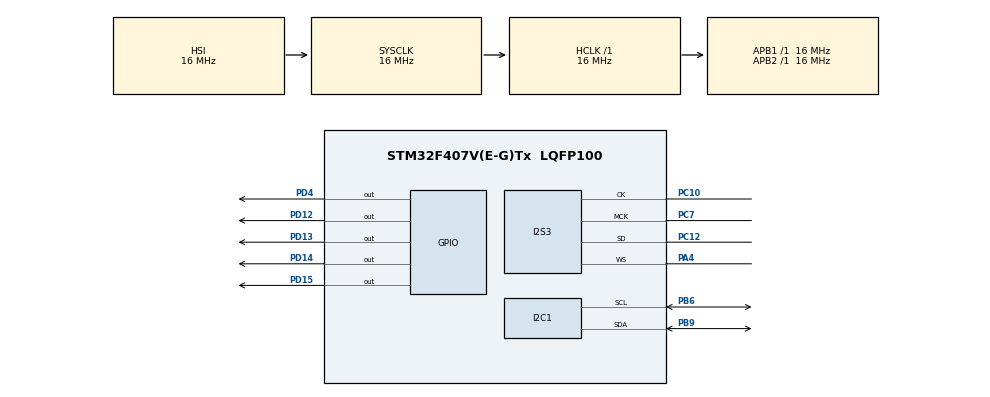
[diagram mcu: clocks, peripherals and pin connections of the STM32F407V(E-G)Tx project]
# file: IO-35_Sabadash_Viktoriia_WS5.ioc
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Dma.Request0=SPI3_TX
Dma.SPI3_TX.0.Direction=DMA_MEMORY_TO_PERIPH
Dma.SPI3_TX.0.FIFOMode=DMA_FIFOMODE_ENABLE
Dma.SPI3_TX.0.FIFOThreshold=DMA_FIFO_THRESHOLD_FULL
Dma.SPI3_TX.0.Instance=DMA1_Stream5
Dma.SPI3_TX.0.MemBurst=DMA_MBURST_SINGLE
Dma.SPI3_TX.0.MemDataAlignment=DMA_MDATAALIGN_HALFWORD
Dma.SPI3_TX.0.MemInc=DMA_MINC_ENABLE
Dma.SPI3_TX.0.Mode=DMA_CIRCULAR
Dma.SPI3_TX.0.PeriphBurst=DMA_PBURST_SINGLE
Dma.SPI3_TX.0.PeriphDataAlignment=DMA_PDATAALIGN_HALFWORD
Dma.SPI3_TX.0.PeriphInc=DMA_PINC_DISABLE
Dma.SPI3_TX.0.Priority=DMA_PRIORITY_LOW
I2S3.AudioFreq=I2S_AUDIOFREQ_48K
I2S3.ErrorAudioFreq=-2.34 %
I2S3.FullDuplexMode=I2S_FULLDUPLEXMODE_DISABLE
I2S3.Instance=SPI$Index
I2S3.RealAudioFreq=46.875 KHz
I2S3.VirtualMode=I2S_MODE_MASTER
Mcu.Family=STM32F4
Mcu.Name=STM32F407V(E-G)Tx
Mcu.Package=LQFP100
NVIC.DMA1_Stream5_IRQn=true\:0\:0\:false\:false\:true\:false\:true\:true
NVIC.PriorityGroup=NVIC_PRIORITYGROUP_4
PA4.Mode=Half_Duplex_Master
PA4.Signal=I2S3_WS
PB6.Mode=I2C
PB6.Signal=I2C1_SCL
PB9.Mode=I2C
PB9.Signal=I2C1_SDA
PC10.Mode=Half_Duplex_Master
PC10.Signal=I2S3_CK
PC12.Mode=Half_Duplex_Master
PC12.Signal=I2S3_SD
PC7.Mode=Master_Clock_Activated
PC7.Signal=I2S3_MCK
PD12.Signal=GPIO_Output
PD13.Signal=GPIO_Output
PD14.Signal=GPIO_Output
PD15.Signal=GPIO_Output
PD4.Signal=GPIO_Output
ProjectManager.HeapSize=0x200
ProjectManager.StackSize=0x400
ProjectManager.TargetToolchain=STM32CubeIDE
RCC.AHBFreq_Value=16000000
RCC.APB1Freq_Value=16000000
RCC.APB2Freq_Value=16000000
RCC.CortexFreq_Value=16000000
RCC.HSE_VALUE=25000000
RCC.HSI_VALUE=16000000
RCC.LSE_VALUE=32768
RCC.SYSCLKFreq_VALUE=16000000
RCC.VCOOutputFreq_Value=192000000
board=custom

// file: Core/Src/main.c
/* USER CODE BEGIN Header */
/**
  ******************************************************************************
  * @file           : main.c
  * @brief          : Main program body
  ******************************************************************************
  * @attention
  *
  * Copyright (c) 2026 STMicroelectronics.
  * All rights reserved.
  *
  * This software is licensed under terms that can be found in the LICENSE file
  * in the root directory of this software component.
  * If no LICENSE file comes with this software, it is provided AS-IS.
  *
  ******************************************************************************
  */
/* USER CODE END Header */
#include "main.h"

/* USER CODE BEGIN PTD */

typedef enum
{
	C4,
	C5,
	D5,
	E5,
	F5,
	G5,
	A5,
	B5,
	C6,
	D6,
	E6,
	F6,
	G6,
	A6,
	B6,
	C7,
	MAX_VALUE
} soundToneType;

/* USER CODE END PTD */

/* USER CODE BEGIN PD */

#define CS43L22_I2C_ADDRESS		0x94
#define I2C_TIMEOUT				10

/* USER CODE END PD */

I2C_HandleTypeDef hi2c1;

I2S_HandleTypeDef hi2s3;
DMA_HandleTypeDef hdma_spi3_tx;

/* USER CODE BEGIN PV */

int16_t dataI2S[100] = {0};

/* USER CODE END PV */

void SystemClock_Config(void);
static void MX_GPIO_Init(void);
static void MX_DMA_Init(void);
static void MX_I2C1_Init(void);
static void MX_I2S3_Init(void);

/* USER CODE BEGIN 0 */

void CS43L22_Init(void)
{
	// Enable chip
	HAL_GPIO_WritePin(GPIOD, GPIO_PIN_4, GPIO_PIN_SET);

	//
	// Initialization
	//
	uint8_t TxBuffer[2];

	TxBuffer[0] = 0x0D;
	TxBuffer[1] = 0x01;
	HAL_I2C_Master_Transmit(&hi2c1, CS43L22_I2C_ADDRESS, (uint8_t*) &TxBuffer, 2, I2C_TIMEOUT);

	TxBuffer[0] = 0x00;
	TxBuffer[1] = 0x99;
	HAL_I2C_Master_Transmit(&hi2c1, CS43L22_I2C_ADDRESS, (uint8_t*) &TxBuffer, 2, I2C_TIMEOUT);

	TxBuffer[0] = 0x47;
	TxBuffer[1] = 0x80;
	HAL_I2C_Master_Transmit(&hi2c1, CS43L22_I2C_ADDRESS, (uint8_t*) &TxBuffer, 2, I2C_TIMEOUT);

	TxBuffer[0] = 0x32;
	TxBuffer[1] = 0xFF;
	HAL_I2C_Master_Transmit(&hi2c1, CS43L22_I2C_ADDRESS, (uint8_t*) &TxBuffer, 2, I2C_TIMEOUT);

	TxBuffer[0] = 0x32;
	TxBuffer[1] = 0x7F;
	HAL_I2C_Master_Transmit(&hi2c1, CS43L22_I2C_ADDRESS, (uint8_t*) &TxBuffer, 2, I2C_TIMEOUT);

	TxBuffer[0] = 0x00;
	TxBuffer[1] = 0x00;
	HAL_I2C_Master_Transmit(&hi2c1, CS43L22_I2C_ADDRESS, (uint8_t*) &TxBuffer, 2, I2C_TIMEOUT);

	TxBuffer[0] = 0x04;
	TxBuffer[1] = 0xAF;
	HAL_I2C_Master_Transmit(&hi2c1, CS43L22_I2C_ADDRESS, (uint8_t*) &TxBuffer, 2, I2C_TIMEOUT);

	TxBuffer[0] = 0x0D;
	TxBuffer[1] = 0x70;
	HAL_I2C_Master_Transmit(&hi2c1, CS43L22_I2C_ADDRESS, (uint8_t*) &TxBuffer, 2, I2C_TIMEOUT);

	TxBuffer[0] = 0x05;
	TxBuffer[1] = 0x81;
	HAL_I2C_Master_Transmit(&hi2c1, CS43L22_I2C_ADDRESS, (uint8_t*) &TxBuffer, 2, I2C_TIMEOUT);

	TxBuffer[0] = 0x06;
	TxBuffer[1] = 0x07;
	HAL_I2C_Master_Transmit(&hi2c1, CS43L22_I2C_ADDRESS, (uint8_t*) &TxBuffer, 2, I2C_TIMEOUT);

	TxBuffer[0] = 0x0A;
	TxBuffer[1] = 0x00;
	HAL_I2C_Master_Transmit(&hi2c1, CS43L22_I2C_ADDRESS, (uint8_t*) &TxBuffer, 2, I2C_TIMEOUT);

	TxBuffer[0] = 0x27;
	TxBuffer[1] = 0x00;
	HAL_I2C_Master_Transmit(&hi2c1, CS43L22_I2C_ADDRESS, (uint8_t*) &TxBuffer, 2, I2C_TIMEOUT);

	TxBuffer[0] = 0x1A;
	TxBuffer[1] = 0x0A;
	HAL_I2C_Master_Transmit(&hi2c1, CS43L22_I2C_ADDRESS, (uint8_t*) &TxBuffer, 2, I2C_TIMEOUT);

	TxBuffer[0] = 0x1B;
	TxBuffer[1] = 0x0A;
	HAL_I2C_Master_Transmit(&hi2c1, CS43L22_I2C_ADDRESS, (uint8_t*) &TxBuffer, 2, I2C_TIMEOUT);

	TxBuffer[0] = 0x1F;
	TxBuffer[1] = 0x0F;
	HAL_I2C_Master_Transmit(&hi2c1, CS43L22_I2C_ADDRESS, (uint8_t*) &TxBuffer, 2, I2C_TIMEOUT);

	TxBuffer[0] = 0x02;
	TxBuffer[1] = 0x9E;
	HAL_I2C_Master_Transmit(&hi2c1, CS43L22_I2C_ADDRESS, (uint8_t*) &TxBuffer, 2, I2C_TIMEOUT);
}

void CS43L22_Beep(soundToneType pitch, uint32_t duration_ms)
{
	uint8_t TxBuffer[2];

	// Set volume and off time
	TxBuffer[0] = 0x1D;		// Register address
	TxBuffer[1] = 0x00;		// Value (volume and off time)
	HAL_I2C_Master_Transmit(&hi2c1, CS43L22_I2C_ADDRESS, (uint8_t*) &TxBuffer, 2, I2C_TIMEOUT);

	// Set sound frequency
	TxBuffer[0] = 0x1C;		// Register address
	switch (pitch)
	{
		case C4:
			TxBuffer[1] = 0x00;		// Value (frequency and on time)
			break;
		case C5:
			TxBuffer[1] = 0x10;
			break;
		case D5:
			TxBuffer[1] = 0x20;
			break;
		case E5:
			TxBuffer[1] = 0x30;
			break;
		case F5:
			TxBuffer[1] = 0x40;
			break;
		case G5:
			TxBuffer[1] = 0x50;
			break;
		case A5:
			TxBuffer[1] = 0x60;
			break;
		case B5:
			TxBuffer[1] = 0x70;
			break;
		case C6:
			TxBuffer[1] = 0x80;
			break;
		case D6:
			TxBuffer[1] = 0x90;
			break;
		case E6:
			TxBuffer[1] = 0xA0;
			break;
		case F6:
			TxBuffer[1] = 0xB0;
			break;
		case G6:
			TxBuffer[1] = 0xC0;
			break;
		case A6:
			TxBuffer[1] = 0xD0;
			break;
		case B6:
			TxBuffer[1] = 0xE0;
			break;
		case C7:
			TxBuffer[1] = 0xF0;
			break;
		case MAX_VALUE:
		default:
			TxBuffer[1] = 0x00;		// Value (frequency and on time)
			break;
	}
	HAL_I2C_Master_Transmit(&hi2c1, CS43L22_I2C_ADDRESS, (uint8_t*) &TxBuffer, 2, I2C_TIMEOUT);

	// Enable continuous mode (SOUND STARTED)
	TxBuffer[0] = 0x1E;		// Register address
	TxBuffer[1] = 0xC0;		// Value (beep and tone configuration)
	HAL_I2C_Master_Transmit(&hi2c1, CS43L22_I2C_ADDRESS, (uint8_t*) &TxBuffer, 2, I2C_TIMEOUT);

	HAL_GPIO_WritePin(GPIOD, GPIO_PIN_12 | GPIO_PIN_13 | GPIO_PIN_14 | GPIO_PIN_15, GPIO_PIN_RESET);
	uint16_t led_pin = 0;
	if (pitch == C4 || pitch == C5 || pitch == C6 || pitch == C7) led_pin = GPIO_PIN_12;
	    else if (pitch == D5 || pitch == D6) led_pin = GPIO_PIN_13;
	    else if (pitch == E5 || pitch == E6) led_pin = GPIO_PIN_14;
	    else if (pitch == F5 || pitch == F6) led_pin = GPIO_PIN_15;
	    else if (pitch == G5 || pitch == G6) led_pin = GPIO_PIN_12 | GPIO_PIN_13;
	    else if (pitch == A5 || pitch == A6) led_pin = GPIO_PIN_14 | GPIO_PIN_15;
	    else if (pitch == B5 || pitch == B6) led_pin = GPIO_PIN_12 | GPIO_PIN_15;

	    if (led_pin != 0) HAL_GPIO_WritePin(GPIOD, led_pin, GPIO_PIN_SET);
	// Playing...
	HAL_Delay(duration_ms);

	HAL_GPIO_WritePin(GPIOD, GPIO_PIN_12 | GPIO_PIN_13 | GPIO_PIN_14 | GPIO_PIN_15, GPIO_PIN_RESET);
	// Disable continuous mode (SOUND STOPED)
	TxBuffer[0] = 0x1E;		// Register address
	TxBuffer[1] = 0x00;		// Value (beep and tone configuration)
	HAL_I2C_Master_Transmit(&hi2c1, CS43L22_I2C_ADDRESS, (uint8_t*) &TxBuffer, 2, I2C_TIMEOUT);
}

/* USER CODE END 0 */

int main(void)
{

  /* MCU Configuration--------------------------------------------------------*/

  /* Reset of all peripherals, Initializes the Flash interface and the Systick. */
  HAL_Init();

  /* Configure the system clock */
  SystemClock_Config();

  /* Initialize all configured peripherals */
  MX_GPIO_Init();
  MX_DMA_Init();
  MX_I2C1_Init();
  MX_I2S3_Init();
  /* USER CODE BEGIN 2 */

  // Init DAC
  CS43L22_Init();

  // Transmit empty data
  HAL_I2S_Transmit_DMA(&hi2s3, (uint16_t *)dataI2S, 100);

  /* USER CODE END 2 */

  /* Infinite loop */
  /* USER CODE BEGIN WHILE */

  uint8_t repeat_count = 0;

  while (1)
  {

	  if (repeat_count < 3)
	  {
		  CS43L22_Beep(C5, 150);
		  HAL_Delay(50);

		  CS43L22_Beep(C5, 150);
		  HAL_Delay(50);

		  CS43L22_Beep(E5, 300);
		  HAL_Delay(100);

		  CS43L22_Beep(F5, 150);
		  HAL_Delay(50);

		  CS43L22_Beep(F5, 150);
		  HAL_Delay(50);

		  CS43L22_Beep(F5, 300);
		  HAL_Delay(100);

		  CS43L22_Beep(E5, 300);
		  HAL_Delay(100);

		  CS43L22_Beep(D5, 300);
		  HAL_Delay(100);

		  CS43L22_Beep(C5, 500);
		  HAL_Delay(800);

		  repeat_count++;
	  }
    /* USER CODE END WHILE */

  }
}

void SystemClock_Config(void)
{
  RCC_OscInitTypeDef RCC_OscInitStruct = {0};
  RCC_ClkInitTypeDef RCC_ClkInitStruct = {0};

  /** Macro to configure the PLL multiplication factor
  */
  __HAL_RCC_PLL_PLLM_CONFIG(16);

  /** Macro to configure the PLL clock source
  */
  __HAL_RCC_PLL_PLLSOURCE_CONFIG(RCC_PLLSOURCE_HSI);

  /** Configure the main internal regulator output voltage
  */
  __HAL_RCC_PWR_CLK_ENABLE();
  __HAL_PWR_VOLTAGESCALING_CONFIG(PWR_REGULATOR_VOLTAGE_SCALE1);

  /** Initializes the RCC Oscillators according to the specified parameters
  * in the RCC_OscInitTypeDef structure.
  */
  RCC_OscInitStruct.OscillatorType = RCC_OSCILLATORTYPE_HSI;
  RCC_OscInitStruct.HSIState = RCC_HSI_ON;
  RCC_OscInitStruct.HSICalibrationValue = RCC_HSICALIBRATION_DEFAULT;
  RCC_OscInitStruct.PLL.PLLState = RCC_PLL_NONE;
  RCC_OscInitStruct.PLL.PLLSource = RCC_PLLSOURCE_HSI;
  if (HAL_RCC_OscConfig(&RCC_OscInitStruct) != HAL_OK)
  {
    Error_Handler();
  }

  /** Initializes the CPU, AHB and APB buses clocks
  */
  RCC_ClkInitStruct.ClockType = RCC_CLOCKTYPE_HCLK|RCC_CLOCKTYPE_SYSCLK
                              |RCC_CLOCKTYPE_PCLK1|RCC_CLOCKTYPE_PCLK2;
  RCC_ClkInitStruct.SYSCLKSource = RCC_SYSCLKSOURCE_HSI;
  RCC_ClkInitStruct.AHBCLKDivider = RCC_SYSCLK_DIV1;
  RCC_ClkInitStruct.APB1CLKDivider = RCC_HCLK_DIV1;
  RCC_ClkInitStruct.APB2CLKDivider = RCC_HCLK_DIV1;

  if (HAL_RCC_ClockConfig(&RCC_ClkInitStruct, FLASH_LATENCY_0) != HAL_OK)
  {
    Error_Handler();
  }
}

static void MX_I2C1_Init(void)
{

  hi2c1.Instance = I2C1;
  hi2c1.Init.ClockSpeed = 100000;
  hi2c1.Init.DutyCycle = I2C_DUTYCYCLE_2;
  hi2c1.Init.OwnAddress1 = 0;
  hi2c1.Init.AddressingMode = I2C_ADDRESSINGMODE_7BIT;
  hi2c1.Init.DualAddressMode = I2C_DUALADDRESS_DISABLE;
  hi2c1.Init.OwnAddress2 = 0;
  hi2c1.Init.GeneralCallMode = I2C_GENERALCALL_DISABLE;
  hi2c1.Init.NoStretchMode = I2C_NOSTRETCH_DISABLE;
  if (HAL_I2C_Init(&hi2c1) != HAL_OK)
  {
    Error_Handler();
  }

}

static void MX_I2S3_Init(void)
{

  hi2s3.Instance = SPI3;
  hi2s3.Init.Mode = I2S_MODE_MASTER_TX;
  hi2s3.Init.Standard = I2S_STANDARD_PHILIPS;
  hi2s3.Init.DataFormat = I2S_DATAFORMAT_16B;
  hi2s3.Init.MCLKOutput = I2S_MCLKOUTPUT_ENABLE;
  hi2s3.Init.AudioFreq = I2S_AUDIOFREQ_48K;
  hi2s3.Init.CPOL = I2S_CPOL_LOW;
  hi2s3.Init.ClockSource = I2S_CLOCK_PLL;
  hi2s3.Init.FullDuplexMode = I2S_FULLDUPLEXMODE_DISABLE;
  if (HAL_I2S_Init(&hi2s3) != HAL_OK)
  {
    Error_Handler();
  }

}

static void MX_DMA_Init(void)
{

  /* DMA controller clock enable */
  __HAL_RCC_DMA1_CLK_ENABLE();

  /* DMA interrupt init */
  /* DMA1_Stream5_IRQn interrupt configuration */
  HAL_NVIC_SetPriority(DMA1_Stream5_IRQn, 0, 0);
  HAL_NVIC_EnableIRQ(DMA1_Stream5_IRQn);

}

static void MX_GPIO_Init(void)
{
  GPIO_InitTypeDef GPIO_InitStruct = {0};

  /* GPIO Ports Clock Enable */
  __HAL_RCC_GPIOA_CLK_ENABLE();
  __HAL_RCC_GPIOD_CLK_ENABLE();
  __HAL_RCC_GPIOC_CLK_ENABLE();
  __HAL_RCC_GPIOB_CLK_ENABLE();

  /*Configure GPIO pin Output Level */
  HAL_GPIO_WritePin(GPIOD, GPIO_PIN_12|GPIO_PIN_13|GPIO_PIN_14|GPIO_PIN_15
                          |GPIO_PIN_4, GPIO_PIN_RESET);

  /*Configure GPIO pins : PD12 PD13 PD14 PD15
                           PD4 */
  GPIO_InitStruct.Pin = GPIO_PIN_12|GPIO_PIN_13|GPIO_PIN_14|GPIO_PIN_15
                          |GPIO_PIN_4;
  GPIO_InitStruct.Mode = GPIO_MODE_OUTPUT_PP;
  GPIO_InitStruct.Pull = GPIO_NOPULL;
  GPIO_InitStruct.Speed = GPIO_SPEED_FREQ_LOW;
  HAL_GPIO_Init(GPIOD, &GPIO_InitStruct);

}

void Error_Handler(void)
{
  __disable_irq();
  while (1)
  {
  }
}
